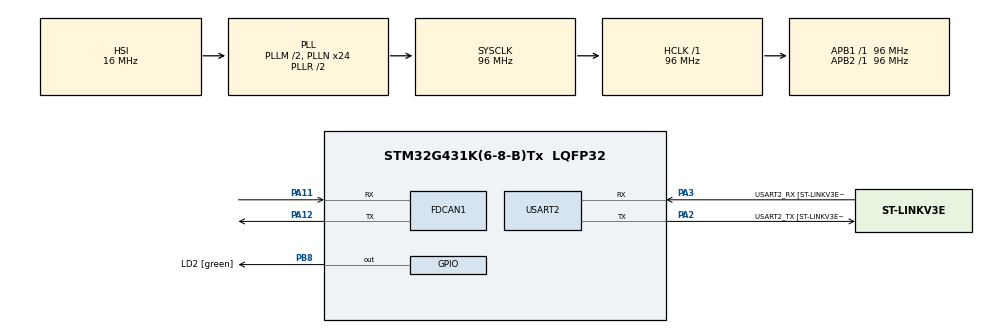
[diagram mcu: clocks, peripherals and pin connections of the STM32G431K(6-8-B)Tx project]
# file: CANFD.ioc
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FDCAN1.DataPrescaler=2
FDCAN1.DataSyncJumpWidth=4
FDCAN1.DataTimeSeg1=7
FDCAN1.DataTimeSeg2=4
FDCAN1.NominalPrescaler=4
FDCAN1.NominalSyncJumpWidth=4
FDCAN1.NominalTimeSeg1=16
FDCAN1.NominalTimeSeg2=7
FDCAN1.ProtocolException=ENABLE
FDCAN1.StdFiltersNbr=1
Mcu.Family=STM32G4
Mcu.Name=STM32G431K(6-8-B)Tx
Mcu.Package=LQFP32
NVIC.FDCAN1_IT0_IRQn=true\:0\:0\:false\:false\:true\:true\:true
NVIC.FDCAN1_IT1_IRQn=true\:0\:0\:false\:false\:true\:true\:true
NVIC.PriorityGroup=NVIC_PRIORITYGROUP_4
PA11.Mode=FDCANFD
PA11.Signal=FDCAN1_RX
PA12.Mode=FDCANFD
PA12.Signal=FDCAN1_TX
PA13.GPIO_Label=T_SWDIO
PA13.Mode=Serial_Wire
PA13.Signal=SYS_JTMS-SWDIO
PA14.GPIO_Label=T_SWCLK
PA14.Mode=Serial_Wire
PA14.Signal=SYS_JTCK-SWCLK
PA2.GPIO_Label=USART2_TX [ST-LINKV3E_VCP_RX]
PA2.Mode=Asynchronous
PA2.Signal=USART2_TX
PA3.GPIO_Label=USART2_RX [ST-LINKV3E_VCP_TX]
PA3.Mode=Asynchronous
PA3.Signal=USART2_RX
PB3.GPIO_Label=T_SWO
PB3.Signal=SYS_JTDO-SWO
PB8-BOOT0.GPIO_Label=LD2 [green]
PB8-BOOT0.Signal=GPIO_Output
ProjectManager.HeapSize=0x200
ProjectManager.StackSize=0x400
ProjectManager.TargetToolchain=EWARM V8
RCC.ADC12Freq_Value=96000000
RCC.AHBFreq_Value=96000000
RCC.APB1Freq_Value=96000000
RCC.APB1TimFreq_Value=96000000
RCC.APB2Freq_Value=96000000
RCC.APB2TimFreq_Value=96000000
RCC.CortexFreq_Value=96000000
RCC.EXTERNAL_CLOCK_VALUE=12288000
RCC.HCLKFreq_Value=96000000
RCC.HSE_VALUE=8000000
RCC.HSI48_VALUE=48000000
RCC.HSI_VALUE=16000000
RCC.LSE_VALUE=32768
RCC.PLLM=RCC_PLLM_DIV2
RCC.PLLN=24
RCC.SYSCLKFreq_VALUE=96000000
RCC.SYSCLKSource=RCC_SYSCLKSOURCE_PLLCLK
RCC.USBFreq_Value=96000000
RCC.VCOOutputFreq_Value=192000000
USART2.VirtualMode-Asynchronous=VM_ASYNC
USART2.WordLength=WORDLENGTH_8B
VP_SYS_VS_DBSignals.Mode=DisableDeadBatterySignals
board=NUCLEO-G431KB

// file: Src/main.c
/* USER CODE BEGIN Header */
/**
  ******************************************************************************
  * @file           : main.c
  * @brief          : Main program body
  ******************************************************************************
  * @attention
  *
  * <h2><center>&copy; Copyright (c) 2019 STMicroelectronics.
  * All rights reserved.</center></h2>
  *
  * This software component is licensed by ST under BSD 3-Clause license,
  * the "License"; You may not use this file except in compliance with the
  * License. You may obtain a copy of the License at:
  *                        opensource.org/licenses/BSD-3-Clause
  *
  ******************************************************************************
  */
/* USER CODE END Header */

#include "main.h"
#include "fdcan.h"
#include "usart.h"
#include "gpio.h"

void SystemClock_Config(void);

int main(void)
{

  /* MCU Configuration--------------------------------------------------------*/

  /* Reset of all peripherals, Initializes the Flash interface and the Systick. */
  HAL_Init();

  /* Configure the system clock */
  SystemClock_Config();

  /* Initialize all configured peripherals */
  MX_GPIO_Init();
  MX_USART2_UART_Init();
  MX_FDCAN1_Init();
  /* USER CODE BEGIN 2 */
  FDCAN_FilterTypeDef FilterConfig;
  FilterConfig.IdType = FDCAN_STANDARD_ID;
  FilterConfig.FilterIndex = 0;
  FilterConfig.FilterType = FDCAN_FILTER_RANGE;
  FilterConfig.FilterConfig = FDCAN_FILTER_TO_RXFIFO0;
  FilterConfig.FilterID1 = 0x000;
  FilterConfig.FilterID2 = 0x7FF;
  if( HAL_FDCAN_ConfigFilter(&hfdcan1, &FilterConfig) != HAL_OK )
  {
    Error_Handler();
  }
  if( HAL_FDCAN_ConfigGlobalFilter(&hfdcan1, FDCAN_REJECT, FDCAN_REJECT, FDCAN_REJECT_REMOTE, FDCAN_REJECT_REMOTE) != HAL_OK )
  {
    Error_Handler();
  }
    /* Configure Rx FIFO 0 watermark to 2 */
  HAL_FDCAN_ActivateNotification(&hfdcan1, FDCAN_IT_RX_FIFO0_NEW_MESSAGE, FDCAN_TX_BUFFER0);
  HAL_FDCAN_ConfigTxDelayCompensation(&hfdcan1, 5, 0);
  HAL_FDCAN_EnableTxDelayCompensation(&hfdcan1);

  if( HAL_FDCAN_Start( &hfdcan1 ) != HAL_OK)
  {
    Error_Handler();
  }
  uint8_t payload[64];
  for(uint8_t i = 0; i < 64; i++) // FDCAN_DLC_BYTES_64 = 64 Loops
  {
    payload[i] = i;
  }

  //FDCAN_Send( 0x200, payload );  // Comment this line out for RCVR
  /* USER CODE END 2 */

  /* Infinite loop */
  while (1)
  {

  }
}

void SystemClock_Config(void)
{
  RCC_OscInitTypeDef RCC_OscInitStruct = {0};
  RCC_ClkInitTypeDef RCC_ClkInitStruct = {0};
  RCC_PeriphCLKInitTypeDef PeriphClkInit = {0};

  /** Configure the main internal regulator output voltage
  */
  HAL_PWREx_ControlVoltageScaling(PWR_REGULATOR_VOLTAGE_SCALE1);
  /** Initializes the CPU, AHB and APB busses clocks
  */
  RCC_OscInitStruct.OscillatorType = RCC_OSCILLATORTYPE_HSI;
  RCC_OscInitStruct.HSIState = RCC_HSI_ON;
  RCC_OscInitStruct.HSICalibrationValue = RCC_HSICALIBRATION_DEFAULT;
  RCC_OscInitStruct.PLL.PLLState = RCC_PLL_ON;
  RCC_OscInitStruct.PLL.PLLSource = RCC_PLLSOURCE_HSI;
  RCC_OscInitStruct.PLL.PLLM = RCC_PLLM_DIV2;
  RCC_OscInitStruct.PLL.PLLN = 24;
  RCC_OscInitStruct.PLL.PLLP = RCC_PLLP_DIV2;
  RCC_OscInitStruct.PLL.PLLQ = RCC_PLLQ_DIV2;
  RCC_OscInitStruct.PLL.PLLR = RCC_PLLR_DIV2;
  if (HAL_RCC_OscConfig(&RCC_OscInitStruct) != HAL_OK)
  {
    Error_Handler();
  }
  /** Initializes the CPU, AHB and APB busses clocks
  */
  RCC_ClkInitStruct.ClockType = RCC_CLOCKTYPE_HCLK|RCC_CLOCKTYPE_SYSCLK
                              |RCC_CLOCKTYPE_PCLK1|RCC_CLOCKTYPE_PCLK2;
  RCC_ClkInitStruct.SYSCLKSource = RCC_SYSCLKSOURCE_PLLCLK;
  RCC_ClkInitStruct.AHBCLKDivider = RCC_SYSCLK_DIV1;
  RCC_ClkInitStruct.APB1CLKDivider = RCC_HCLK_DIV1;
  RCC_ClkInitStruct.APB2CLKDivider = RCC_HCLK_DIV1;

  if (HAL_RCC_ClockConfig(&RCC_ClkInitStruct, FLASH_LATENCY_4) != HAL_OK)
  {
    Error_Handler();
  }
  /** Initializes the peripherals clocks
  */
  PeriphClkInit.PeriphClockSelection = RCC_PERIPHCLK_USART2|RCC_PERIPHCLK_FDCAN;
  PeriphClkInit.Usart2ClockSelection = RCC_USART2CLKSOURCE_PCLK1;
  PeriphClkInit.FdcanClockSelection = RCC_FDCANCLKSOURCE_PCLK1;
  if (HAL_RCCEx_PeriphCLKConfig(&PeriphClkInit) != HAL_OK)
  {
    Error_Handler();
  }
}

/* USER CODE BEGIN 4 */

void FDCAN_Send( uint32_t Identifier, uint8_t *payload )
{
  uint8_t tries = 0;
  FDCAN_TxHeaderTypeDef   TxHeader;
  TxHeader.Identifier = Identifier;
  TxHeader.IdType = FDCAN_STANDARD_ID;
  TxHeader.TxFrameType = FDCAN_DATA_FRAME;
  TxHeader.DataLength = FDCAN_DLC_BYTES_64; //FDCAN_DLC_BYTES_64;
  TxHeader.ErrorStateIndicator = FDCAN_ESI_ACTIVE;
  TxHeader.BitRateSwitch = FDCAN_BRS_ON;
  TxHeader.FDFormat = FDCAN_FD_CAN;
  TxHeader.TxEventFifoControl = FDCAN_NO_TX_EVENTS;
  TxHeader.MessageMarker = 0;
  while( HAL_FDCAN_GetTxFifoFreeLevel(&hfdcan1) == 0 )
  {
      /* Wait for FIFO to become free */
    tries ++;
    if(tries > 10)
    {
      Error_Handler();
    }
    HAL_Delay(20);
  }
  if (HAL_FDCAN_AddMessageToTxFifoQ(&hfdcan1, &TxHeader, payload) != HAL_OK)
  {
    /* Transmission request Error */
    Error_Handler();
  }
}

void HAL_FDCAN_RxFifo0Callback(FDCAN_HandleTypeDef *hfdcan, uint32_t RxFifo0ITs)
{
  uint8_t RxData[64];
  FDCAN_RxHeaderTypeDef RxHeader;
  if((RxFifo0ITs & FDCAN_IT_RX_FIFO0_NEW_MESSAGE) != RESET)
  {
    /* Retrieve Rx messages from RX FIFO0 */
    if (HAL_FDCAN_GetRxMessage(hfdcan, FDCAN_RX_FIFO0, &RxHeader, RxData) != HAL_OK)
    {
      Error_Handler();
    }
    if(RxHeader.Identifier == 0x200) // 0x200 for RCVR 0x201 for TXR
    {
      FDCAN_Send( 0x201, RxData); // 0x201 for RCVR 0x200 for TXR
      HAL_GPIO_TogglePin(LD2_GPIO_Port, LD2_Pin);
    }
  }
}

/* USER CODE END 4 */

void Error_Handler(void)
{
}

/************************ (C) COPYRIGHT STMicroelectronics *****END OF FILE****/
